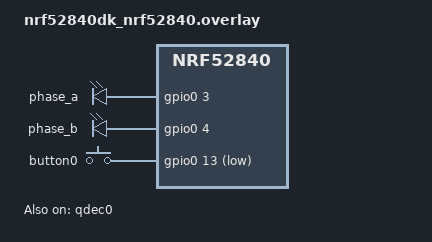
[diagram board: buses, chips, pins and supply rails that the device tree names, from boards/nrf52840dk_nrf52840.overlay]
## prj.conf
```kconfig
# Increased stack due to settings API usage
CONFIG_SYSTEM_WORKQUEUE_STACK_SIZE=4096

CONFIG_BT=y
CONFIG_LOG=y
CONFIG_BT_SMP=y
CONFIG_BT_SIGNING=y
CONFIG_BT_PERIPHERAL=y
CONFIG_BT_DIS=y
CONFIG_BT_ATT_PREPARE_COUNT=1
CONFIG_BT_PRIVACY=n
CONFIG_BT_DEVICE_NAME="Direct Adv"
CONFIG_BT_DEVICE_APPEARANCE=833

CONFIG_BT_KEYS_OVERWRITE_OLDEST=y
CONFIG_BT_SETTINGS=y
CONFIG_FLASH=y
CONFIG_FLASH_PAGE_LAYOUT=y
CONFIG_FLASH_MAP=y
CONFIG_NVS=y
CONFIG_SETTINGS=y
CONFIG_REBOOT=y

CONFIG_BT_ID_MAX=4
CONFIG_SENSOR=y
CONFIG_BT_CTLR_TX_PWR_ANTENNA=20
```

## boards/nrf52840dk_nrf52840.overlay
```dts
/*
 * Copyright 2023 Nordic Semiconductor ASA
 * SPDX-License-Identifier: Apache-2.0
 */

/ {
	aliases {
		qdec0 = &qdec0;
		qenca = &phase_a;
		qencb = &phase_b;
	};

	encoder-emulate {
		compatible = "gpio-leds";
		phase_a: phase_a {
			/* Arduino A0 */
			gpios = <&gpio0 3 GPIO_ACTIVE_HIGH>;
		};
		phase_b: phase_b {
			/* Arduino A1 */
			gpios = <&gpio0 4 GPIO_ACTIVE_HIGH>;
		};
	};

};

&pinctrl {
	qdec_pinctrl: qdec_pinctrl {
		group1 {
			psels = <NRF_PSEL(QDEC_A, 0, 31)>,   /* Ardiuno A5 */
				<NRF_PSEL(QDEC_B, 0, 30)>;   /* Arduino A4 */
		};
	};
};

&qdec0 {
	status = "okay";
	pinctrl-0 = <&qdec_pinctrl>;
	pinctrl-names = "default";
	steps = < 64 >;
	led-pre = < 0 >;
};

&button0 {
};

&button0 {
	gpios = <&gpio0 11 (GPIO_ACTIVE_LOW | GPIO_PULL_UP)>;
};

&button0 {
	gpios = <&gpio0 11 (GPIO_ACTIVE_LOW | GPIO_PULL_DOWN)>;
};

&button0 {
	gpios = <&gpio0 11 GPIO_ACTIVE_LOW>;
};

&button0 {
	gpios = <&gpio0 13 GPIO_ACTIVE_LOW>;
};

&button0 {
	gpios = <&gpio0 13 (GPIO_ACTIVE_LOW | GPIO_PULL_UP)>;
};
```

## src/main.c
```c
//prj.conf settings are required for this to function

#include <zephyr/types.h>
#include <stddef.h>
#include <string.h>
#include <errno.h>
#include <zephyr/sys/printk.h>
#include <zephyr/sys/byteorder.h>
#include <zephyr/sys/reboot.h>
#include <zephyr/settings/settings.h>
#include <zephyr/bluetooth/bluetooth.h>
#include <zephyr/bluetooth/hci.h>
#include <zephyr/bluetooth/conn.h>
#include <zephyr/bluetooth/uuid.h>
#include <zephyr/bluetooth/gatt.h>
#include <zephyr/device.h>
#include <zephyr/drivers/sensor.h>
#include <zephyr/drivers/gpio.h>

static struct bt_le_adv_param adv_param; // Holds params for advertising
static bt_addr_le_t bond_addr; // Address to advertise to (reciever address)
static bt_addr_le_t identity_zero_addr; // Adress to initialize default ID 
static bt_addr_le_t transmit_addr; // Address to transmit from (transmitter address)

// For the qdec to work with the motor, navigate to where your nrf connect toolchain is located, go to the nrfx_qdec folder...
// and in the .c file set the following under .config{}:
//	.reportper = NRF_QDEC_REPORTPER_10,
//	.sampleper = NRF_QDEC_SAMPLEPER_128US,
struct sensor_value val;
const struct device *const dev = DEVICE_DT_GET(DT_ALIAS(qdec0));

#define HE0_NODE DT_ALIAS(sw0)
static const struct gpio_dt_spec HESensor = GPIO_DT_SPEC_GET(HE0_NODE, gpios);
static struct gpio_callback halleffect_cb_data;

int currentAngle = 0; // Stores angle of rotation
int actualDegrees = 0;
bool hallEffectTriggerFlag = false;

// ---------------------------- HALL EFFECT INTERRUPT -------------------------

void halleffect_cb(const struct device *dev, struct gpio_callback *cb,
                    uint32_t pins)
{
	if (!hallEffectTriggerFlag)
	{
		//printk("HE triggered");
		currentAngle = 0;
		actualDegrees = 0;
		hallEffectTriggerFlag = true;
	}
}

// ---------------------------- DIRECT ADVERTISING ----------------------------

// Ensures settings are loaded
static void bt_ready(void)
{
	printk("Bluetooth initialized\n");
	if (IS_ENABLED(CONFIG_SETTINGS)) {
		settings_load();
	}
}

int main(void)
{
	gpio_pin_configure_dt(&HESensor, GPIO_INPUT);
	gpio_pin_interrupt_configure_dt(&HESensor, GPIO_INT_EDGE_BOTH);
	gpio_init_callback(&halleffect_cb_data, halleffect_cb, BIT(HESensor.pin));
	gpio_add_callback(HESensor.port, &halleffect_cb_data);

	int err;
	// NOTE: ID creation should be before bt_enable to get around IRK (I think) and privacy must be turned off in the config
	// Create ID 0, this is needed (I think?) but the identity does not get used
	bt_addr_le_from_str("DA:EE:AA:FF:FF:41", "random", &identity_zero_addr); // Has to be different to ID 1 upon initialization
 	err = bt_id_create(&identity_zero_addr, NULL);
	// Debug output
 	if (err < 0) {
 		printk("Creating new ID 0 failed (err %d)\n", err);
 	}

	// Create ID 1, this is the identity we will use for transmission
	bt_addr_le_from_str("DA:EE:AA:FF:FF:00", "random", &transmit_addr);
	err = bt_id_create(&transmit_addr, NULL); 
	// Debug output
 	if (err < 0) {
 		printk("Creating new ID 1 failed (err %d)\n", err);
 	}

	// Enable bluetooth connectivity
	err = bt_enable(NULL);
	// Debug output
	if (err) {
		printk("Bluetooth init failed (err %d)\n", err);
		return 0;
	}

	// Begin advertisement
	bt_ready();

	while (1) {
		char toAddrOutput[BT_ADDR_LE_STR_LEN];
		char fromAddrOutput[BT_ADDR_LE_STR_LEN];

		// Copy reciever address to a variable
		bt_addr_le_copy(&bond_addr, BT_ADDR_LE_NONE); 
		bt_addr_le_from_str("80:EA:CA:70:00:04", "public", &bond_addr);

		bt_le_adv_stop(); // Stop advertising here to change value of transmitter address before transmission
		
		sensor_sample_fetch(dev);
		sensor_channel_get(dev, SENSOR_CHAN_ROTATION, &val);

		actualDegrees += val.val1;
		currentAngle = actualDegrees/(150);
		if (currentAngle > 100)
		{
			hallEffectTriggerFlag = false;
		}
		
		
		if (currentAngle >= 360)
		{
			actualDegrees = actualDegrees - (360 * 150);
			currentAngle = 0;
		}
		
		//printk("Position = %d degrees\n", currentAngle);

		
		
		//transmit_addr.a.val[0]=transmit_addr.a.val[0]+1; // Alter transmitter address
		int uniqueID = 8;
		int angleHex = (currentAngle - (currentAngle % 16)) / 16;
		int angleRemainder = currentAngle % 16;

		// Get current clock cycle (clsock runs at 32768 Hz on nrf52dk_nrf52832 & (presumably) on the EV-BT832X)
		int systemClockSpeed = 32768;
		uint32_t systemClock = k_cycle_get_32() / (systemClockSpeed / 100); // Divide to give 10ms accuracy.

		// Transmitted Packets are in the format:
			// 00 : First Two Hex Digits of Time : Next Two Hex Digits of Time : Last Two Hex Digits of Time : First Two Hex Digits of Angle : Last Hex Digit of Angle & ID
		transmit_addr.a.val[4] = systemClock / 65536;
		transmit_addr.a.val[3] = (systemClock % 65536) / 256;
		transmit_addr.a.val[2] = systemClock % 256;
		transmit_addr.a.val[1] = angleHex;
		transmit_addr.a.val[0] = uniqueID + (angleRemainder * 16);

		//transmit_addr.a.val[0] = uniqueID;
		//transmit_addr.a.val[1] = transmit_addr.a.val[1] + 1;
		bt_id_reset(1,&transmit_addr, NULL); // Update ID with new transmitter address

		// Debug output addresses
		//bt_addr_le_to_str(&bond_addr, toAddrOutput, sizeof(toAddrOutput));
		//bt_addr_le_to_str(&transmit_addr, fromAddrOutput, sizeof(fromAddrOutput));
		//printk("Direct advertising to %s from %s\n", toAddrOutput, fromAddrOutput);

		// Send direct advertisment
		adv_param = *BT_LE_ADV_CONN_DIR(&bond_addr); // Advertise to reciever address
		adv_param.id=1; // Set to ID 1 - this is the ID we are using to set our transmitter address
		err = bt_le_adv_start(&adv_param, NULL, 0, NULL, 0);

		// Output debug error
		//if (err) {
			//printk("Advertising failed to start (err %d)\n", err);
		//} else {
			//printk("Advertising successfully started\n");
		//}	
		k_msleep(10);
	}
	return 0;
}
```

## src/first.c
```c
//prj.conf settings are required for this to function

#include <zephyr/types.h>
#include <stddef.h>
#include <string.h>
#include <errno.h>
#include <zephyr/sys/printk.h>
#include <zephyr/sys/byteorder.h>
#include <zephyr/sys/reboot.h>
#include <zephyr/settings/settings.h>
#include <zephyr/bluetooth/bluetooth.h>
#include <zephyr/bluetooth/hci.h>
#include <zephyr/bluetooth/conn.h>
#include <zephyr/bluetooth/uuid.h>
#include <zephyr/bluetooth/gatt.h>
//#include <zephyr/drivers/gpio.h>

static struct bt_le_adv_param adv_param; // Holds params for advertising
static bt_addr_le_t bond_addr; // Address to advertise to (reciever address)
static bt_addr_le_t identity_zero_addr; // Adress to initialize default ID 
static bt_addr_le_t transmit_addr; // Address to transmit from (transmitter address)

static void advertising_start(struct k_work *work);
static K_WORK_DEFINE(start_advertising_worker, advertising_start);

//#define SW0_NODE DT_ALIAS(sw0)
//static const struct gpio_dt_spec button = GPIO_DT_SPEC_GET(SW0_NODE, gpios);
//static struct gpio_callback button_cb_data;

// ---------------------------- GPIO - IR --------------------------------------

void halleffect_triggered(const struct device *dev, struct gpio_callback *cb,
                    uint32_t pins)
{
    printk("HE triggered");
}

// ---------------------------- NECESSARY FUNCTIONS ----------------------------

static void connected(struct bt_conn *conn, uint8_t err)
{
	if (err == BT_HCI_ERR_ADV_TIMEOUT) {
		printk("Trying to re-start directed adv.\n");
		k_work_submit(&start_advertising_worker);
	}
	else if (err) {
		printk("Connection failed (err 0x%02x)\n", err);
	} else {
		printk("Connected\n");
	}
}

static void disconnected(struct bt_conn *conn, uint8_t reason)
{
	printk("Disconnected (reason 0x%02x)\n", reason);
}

BT_CONN_CB_DEFINE(conn_callbacks) = {
	.connected = connected,
	.disconnected = disconnected
};

// ---------------------------- DIRECT ADVERTISING ----------------------------

// Worker to advertise
static void advertising_start(struct k_work *work)
{
	// Just for debug output
	int err;
	char toAddrOutput[BT_ADDR_LE_STR_LEN];
	char fromAddrOutput[BT_ADDR_LE_STR_LEN];

	// Copy reciever address to a variable
	bt_addr_le_copy(&bond_addr, BT_ADDR_LE_NONE); 
	bt_addr_le_from_str("80:EA:CA:70:00:04", "public", &bond_addr);
	
	bt_le_adv_stop(); // Stop advertising here to change value of transmitter address before transmission
	transmit_addr.a.val[0]=transmit_addr.a.val[0]+1; // Alter transmitter address
													 // (arbitrary change here as an example, in practical usage adress is set to encoded data here)
	transmit_addr.a.val[1]=12;
	bt_id_reset(1,&transmit_addr, NULL); // Update ID with new transmitter address

	// Debug output addresses
	bt_addr_le_to_str(&bond_addr, toAddrOutput, sizeof(toAddrOutput));
	bt_addr_le_to_str(&transmit_addr, fromAddrOutput, sizeof(fromAddrOutput));
	printk("Direct advertising to %s from %s\n", toAddrOutput, fromAddrOutput);

	// Send direct advertisment
	adv_param = *BT_LE_ADV_CONN_DIR(&bond_addr); // Advertise to reciever address
	adv_param.id=1; // Set to ID 1 - this is the ID we are using to set our transmitter address
	err = bt_le_adv_start(&adv_param, NULL, 0, NULL, 0);

	// Output debug error
	if (err) {
		printk("Advertising failed to start (err %d)\n", err);
	} else {
		printk("Advertising successfully started\n");
	}	
}

// Ensures settings are loaded
static void bt_ready(void)
{
	printk("Bluetooth initialized\n");
	if (IS_ENABLED(CONFIG_SETTINGS)) {
		settings_load();
	}
}

int main(void)
{

	//gpio_pin_configure_dt(&button, GPIO_INPUT);

	//gpio_pin_interrupt_configure_dt(&button, GPIO_INT_EDGE_BOTH);

	//gpio_init_callback(&button_cb_data, halleffect_triggered, BIT(button.pin));
	//gpio_add_callback(button.port, &button_cb_data);
	int err;
	// NOTE: ID creation should be before bt_enable to get around IRK (I think) and privacy must be turned off in the config
	// Create ID 0, this is needed (I think?) but the identity does not get used
	bt_addr_le_from_str("DA:EE:AA:FF:FF:41", "random", &identity_zero_addr); // Has to be different to ID 1 upon initialization
 	err = bt_id_create(&identity_zero_addr, NULL);
	// Debug output
 	if (err < 0) {
 		printk("Creating new ID 0 failed (err %d)\n", err);
 	}

	// Create ID 1, this is the identity we will use for transmission
	bt_addr_le_from_str("DA:EE:AA:FF:FF:00", "random", &transmit_addr);
	err = bt_id_create(&transmit_addr, NULL); 
	// Debug output
 	if (err < 0) {
 		printk("Creating new ID 1 failed (err %d)\n", err);
 	}

	// Enable bluetooth connectivity
	err = bt_enable(NULL);
	// Debug output
	if (err) {
		printk("Bluetooth init failed (err %d)\n", err);
		return 0;
	}

	// Begin advertisement
	bt_ready();
	k_work_submit(&start_advertising_worker);
	while (1) {
		k_sleep(K_FOREVER);
	}
	return 0;
}
```

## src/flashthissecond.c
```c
//prj.conf settings are required for this to function

#include <zephyr/types.h>
#include <stddef.h>
#include <string.h>
#include <errno.h>
#include <zephyr/sys/printk.h>
#include <zephyr/sys/byteorder.h>
#include <zephyr/sys/reboot.h>
#include <zephyr/settings/settings.h>
#include <zephyr/bluetooth/bluetooth.h>
#include <zephyr/bluetooth/hci.h>
#include <zephyr/bluetooth/conn.h>
#include <zephyr/bluetooth/uuid.h>
#include <zephyr/bluetooth/gatt.h>
#include <zephyr/device.h>
#include <zephyr/drivers/sensor.h>
#include <zephyr/drivers/gpio.h>

static struct bt_le_adv_param adv_param; // Holds params for advertising
static bt_addr_le_t bond_addr; // Address to advertise to (reciever address)
static bt_addr_le_t identity_zero_addr; // Adress to initialize default ID 
static bt_addr_le_t transmit_addr; // Address to transmit from (transmitter address)

// For the qdec to work with the motor, navigate to where your nrf connect toolchain is located, go to the nrfx_qdec folder...
// and in the .c file set the following under .config{}:
//	.reportper = NRF_QDEC_REPORTPER_10,
//	.sampleper = NRF_QDEC_SAMPLEPER_128US,
struct sensor_value val;
const struct device *const dev = DEVICE_DT_GET(DT_ALIAS(qdec0));

#define HE0_NODE DT_ALIAS(sw0)
static const struct gpio_dt_spec HESensor = GPIO_DT_SPEC_GET(HE0_NODE, gpios);
static struct gpio_callback halleffect_cb_data;

int currentAngle = 0; // Stores angle of rotation
int actualDegrees = 0;

// ---------------------------- HALL EFFECT INTERRUPT -------------------------

void halleffect_cb(const struct device *dev, struct gpio_callback *cb,
                    uint32_t pins)
{
    //printk("HE triggered");
	currentAngle = 0;
	actualDegrees = 0;
}

// ---------------------------- DIRECT ADVERTISING ----------------------------

// Ensures settings are loaded
static void bt_ready(void)
{
	printk("Bluetooth initialized\n");
	if (IS_ENABLED(CONFIG_SETTINGS)) {
		settings_load();
	}
}

int main(void)
{
	gpio_pin_configure_dt(&HESensor, GPIO_INPUT);
	gpio_pin_interrupt_configure_dt(&HESensor, GPIO_INT_EDGE_BOTH);
	gpio_init_callback(&halleffect_cb_data, halleffect_cb, BIT(HESensor.pin));
	gpio_add_callback(HESensor.port, &halleffect_cb_data);

	int err;
	// NOTE: ID creation should be before bt_enable to get around IRK (I think) and privacy must be turned off in the config
	// Create ID 0, this is needed (I think?) but the identity does not get used
	bt_addr_le_from_str("DA:EE:AA:FF:FF:41", "random", &identity_zero_addr); // Has to be different to ID 1 upon initialization
 	err = bt_id_create(&identity_zero_addr, NULL);
	// Debug output
 	if (err < 0) {
 		printk("Creating new ID 0 failed (err %d)\n", err);
 	}

	// Create ID 1, this is the identity we will use for transmission
	bt_addr_le_from_str("DA:EE:AA:FF:FF:00", "random", &transmit_addr);
	err = bt_id_create(&transmit_addr, NULL); 
	// Debug output
 	if (err < 0) {
 		printk("Creating new ID 1 failed (err %d)\n", err);
 	}

	// Enable bluetooth connectivity
	err = bt_enable(NULL);
	// Debug output
	if (err) {
		printk("Bluetooth init failed (err %d)\n", err);
		return 0;
	}

	// Begin advertisement
	bt_ready();

	while (1) {
		char toAddrOutput[BT_ADDR_LE_STR_LEN];
		char fromAddrOutput[BT_ADDR_LE_STR_LEN];

		// Copy reciever address to a variable
		bt_addr_le_copy(&bond_addr, BT_ADDR_LE_NONE); 
		bt_addr_le_from_str("80:EA:CA:70:00:04", "public", &bond_addr);

		bt_le_adv_stop(); // Stop advertising here to change value of transmitter address before transmission
		
		sensor_sample_fetch(dev);
		sensor_channel_get(dev, SENSOR_CHAN_ROTATION, &val);

		actualDegrees += val.val1;
		currentAngle = actualDegrees/(9765/20);
		if (currentAngle >= 360)
		{
			actualDegrees = 0;
			currentAngle = 0;
		}
		printk("Position = %d degrees\n", actualDegrees/(9765/20));

		
		
		//transmit_addr.a.val[0]=transmit_addr.a.val[0]+1; // Alter transmitter address
		int uniqueID = 10;
		int angleHex = (currentAngle - (currentAngle % 16)) / 16;
		int angleRemainder = currentAngle % 16;

		// Get current clock cycle (clock runs at 32768 Hz on nrf52dk_nrf52832 & (presumably) on the EV-BT832X)
		int systemClockSpeed = 32768;
		uint32_t systemClock = k_cycle_get_32() / (systemClockSpeed / 1000); // Divide to give ms accuracy.

		// Transmitted Packets are in the format:
			// 00 : First Two Hex Digits of Time : Next Two Hex Digits of Time : Last Two Hex Digits of Time : First Two Hex Digits of Angle : Last Hex Digit of Angle & ID
		transmit_addr.a.val[4] = systemClock / 65536;
		transmit_addr.a.val[3] = (systemClock % 65536) / 256;
		transmit_addr.a.val[2] = systemClock % 256;
		transmit_addr.a.val[1] = angleHex;
		transmit_addr.a.val[0] = uniqueID + (angleRemainder * 16);

		//transmit_addr.a.val[0] = uniqueID;
		//transmit_addr.a.val[1] = transmit_addr.a.val[1] + 1;
		bt_id_reset(1,&transmit_addr, NULL); // Update ID with new transmitter address

		// Debug output addresses
		bt_addr_le_to_str(&bond_addr, toAddrOutput, sizeof(toAddrOutput));
		bt_addr_le_to_str(&transmit_addr, fromAddrOutput, sizeof(fromAddrOutput));
		//printk("Direct advertising to %s from %s\n", toAddrOutput, fromAddrOutput);

		// Send direct advertisment
		adv_param = *BT_LE_ADV_CONN_DIR(&bond_addr); // Advertise to reciever address
		adv_param.id=1; // Set to ID 1 - this is the ID we are using to set our transmitter address
		err = bt_le_adv_start(&adv_param, NULL, 0, NULL, 0);

		// Output debug error
		if (err) {
			printk("Advertising failed to start (err %d)\n", err);
		} else {
			printk("Advertising successfully started\n");
		}	
		k_msleep(20);
	}
	return 0;
}
```
